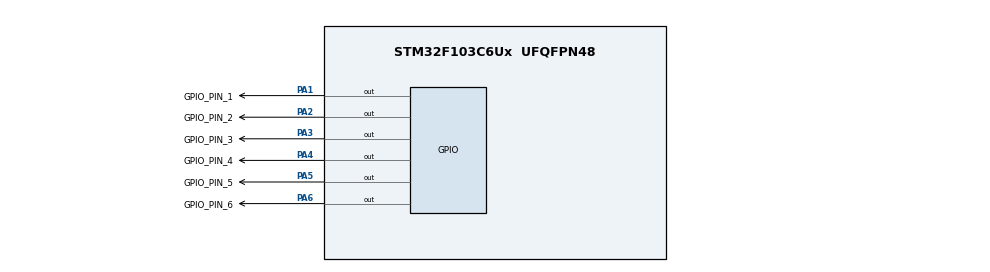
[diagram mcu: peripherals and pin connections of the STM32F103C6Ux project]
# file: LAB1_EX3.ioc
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Mcu.Family=STM32F1
Mcu.Name=STM32F103C6Ux
Mcu.Package=UFQFPN48
NVIC.PriorityGroup=NVIC_PRIORITYGROUP_4
PA1.GPIO_Label=GPIO_PIN_1
PA1.Signal=GPIO_Output
PA2.GPIO_Label=GPIO_PIN_2
PA2.Signal=GPIO_Output
PA3.GPIO_Label=GPIO_PIN_3
PA3.Signal=GPIO_Output
PA4.GPIO_Label=GPIO_PIN_4
PA4.Signal=GPIO_Output
PA5.GPIO_Label=GPIO_PIN_5
PA5.Signal=GPIO_Output
PA6.GPIO_Label=GPIO_PIN_6
PA6.Signal=GPIO_Output
ProjectManager.HeapSize=0x200
ProjectManager.StackSize=0x400
ProjectManager.TargetToolchain=STM32CubeIDE
RCC.APB1Freq_Value=8000000
RCC.APB2Freq_Value=8000000
VP_SYS_VS_ND.Mode=No_Debug
board=custom

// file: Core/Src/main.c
/* USER CODE BEGIN Header */
/**
  ******************************************************************************
  * @file           : main.c
  * @brief          : Main program body
  ******************************************************************************
  * @attention
  *
  * <h2><center>&copy; Copyright (c) 2025 STMicroelectronics.
  * All rights reserved.</center></h2>
  *
  * This software component is licensed by ST under BSD 3-Clause license,
  * the "License"; You may not use this file except in compliance with the
  * License. You may obtain a copy of the License at:
  *                        opensource.org/licenses/BSD-3-Clause
  *
  ******************************************************************************
  */
/* USER CODE END Header */
#include "main.h"

void SystemClock_Config(void);
static void MX_GPIO_Init(void);

int main(void)
{

  /* MCU Configuration--------------------------------------------------------*/

  /* Reset of all peripherals, Initializes the Flash interface and the Systick. */
  HAL_Init();

  /* Configure the system clock */
  SystemClock_Config();

  /* Initialize all configured peripherals */
  MX_GPIO_Init();

  /* Infinite loop */
  /* USER CODE BEGIN WHILE */
  while (1)
  {
	    HAL_GPIO_WritePin(GPIOA, GPIO_PIN_1|GPIO_PIN_2, GPIO_PIN_SET);
	    HAL_GPIO_WritePin(GPIOA, GPIO_PIN_3, GPIO_PIN_RESET);
	    HAL_GPIO_WritePin(GPIOA, GPIO_PIN_4, GPIO_PIN_RESET);
	    HAL_GPIO_WritePin(GPIOA, GPIO_PIN_5|GPIO_PIN_6, GPIO_PIN_SET);
	    HAL_Delay(3000);

	    HAL_GPIO_WritePin(GPIOA, GPIO_PIN_1|GPIO_PIN_3, GPIO_PIN_SET);
	    HAL_GPIO_WritePin(GPIOA, GPIO_PIN_2, GPIO_PIN_RESET);
	    HAL_GPIO_WritePin(GPIOA, GPIO_PIN_4, GPIO_PIN_RESET);
	    HAL_GPIO_WritePin(GPIOA, GPIO_PIN_5|GPIO_PIN_6, GPIO_PIN_SET);
	    HAL_Delay(2000);

	    HAL_GPIO_WritePin(GPIOA, GPIO_PIN_1, GPIO_PIN_RESET);
	    HAL_GPIO_WritePin(GPIOA, GPIO_PIN_2|GPIO_PIN_3, GPIO_PIN_SET);
	    HAL_GPIO_WritePin(GPIOA, GPIO_PIN_4|GPIO_PIN_5, GPIO_PIN_SET);
	    HAL_GPIO_WritePin(GPIOA, GPIO_PIN_6, GPIO_PIN_RESET);
	    HAL_Delay(3000);

	    HAL_GPIO_WritePin(GPIOA, GPIO_PIN_1, GPIO_PIN_RESET);
	    HAL_GPIO_WritePin(GPIOA, GPIO_PIN_2|GPIO_PIN_3, GPIO_PIN_SET);
	    HAL_GPIO_WritePin(GPIOA, GPIO_PIN_4|GPIO_PIN_6, GPIO_PIN_SET);
	    HAL_GPIO_WritePin(GPIOA, GPIO_PIN_5, GPIO_PIN_RESET);
	    HAL_Delay(2000);
    /* USER CODE END WHILE */

  }
}

void SystemClock_Config(void)
{
  RCC_OscInitTypeDef RCC_OscInitStruct = {0};
  RCC_ClkInitTypeDef RCC_ClkInitStruct = {0};

  /** Initializes the RCC Oscillators according to the specified parameters
  * in the RCC_OscInitTypeDef structure.
  */
  RCC_OscInitStruct.OscillatorType = RCC_OSCILLATORTYPE_HSI;
  RCC_OscInitStruct.HSIState = RCC_HSI_ON;
  RCC_OscInitStruct.HSICalibrationValue = RCC_HSICALIBRATION_DEFAULT;
  RCC_OscInitStruct.PLL.PLLState = RCC_PLL_NONE;
  if (HAL_RCC_OscConfig(&RCC_OscInitStruct) != HAL_OK)
  {
    Error_Handler();
  }
  /** Initializes the CPU, AHB and APB buses clocks
  */
  RCC_ClkInitStruct.ClockType = RCC_CLOCKTYPE_HCLK|RCC_CLOCKTYPE_SYSCLK
                              |RCC_CLOCKTYPE_PCLK1|RCC_CLOCKTYPE_PCLK2;
  RCC_ClkInitStruct.SYSCLKSource = RCC_SYSCLKSOURCE_HSI;
  RCC_ClkInitStruct.AHBCLKDivider = RCC_SYSCLK_DIV1;
  RCC_ClkInitStruct.APB1CLKDivider = RCC_HCLK_DIV1;
  RCC_ClkInitStruct.APB2CLKDivider = RCC_HCLK_DIV1;

  if (HAL_RCC_ClockConfig(&RCC_ClkInitStruct, FLASH_LATENCY_0) != HAL_OK)
  {
    Error_Handler();
  }
}

static void MX_GPIO_Init(void)
{
  GPIO_InitTypeDef GPIO_InitStruct = {0};

  /* GPIO Ports Clock Enable */
  __HAL_RCC_GPIOA_CLK_ENABLE();

  /*Configure GPIO pin Output Level */
  HAL_GPIO_WritePin(GPIOA, GPIO_PIN_1_Pin|GPIO_PIN_2_Pin|GPIO_PIN_3_Pin|GPIO_PIN_4_Pin
                          |GPIO_PIN_5_Pin|GPIO_PIN_6_Pin, GPIO_PIN_RESET);

  /*Configure GPIO pins : PAPin PAPin PAPin PAPin
                           PAPin PAPin */
  GPIO_InitStruct.Pin = GPIO_PIN_1_Pin|GPIO_PIN_2_Pin|GPIO_PIN_3_Pin|GPIO_PIN_4_Pin
                          |GPIO_PIN_5_Pin|GPIO_PIN_6_Pin;
  GPIO_InitStruct.Mode = GPIO_MODE_OUTPUT_PP;
  GPIO_InitStruct.Pull = GPIO_NOPULL;
  GPIO_InitStruct.Speed = GPIO_SPEED_FREQ_LOW;
  HAL_GPIO_Init(GPIOA, &GPIO_InitStruct);

}

void Error_Handler(void)
{
  __disable_irq();
  while (1)
  {
  }
}

/************************ (C) COPYRIGHT STMicroelectronics *****END OF FILE****/
